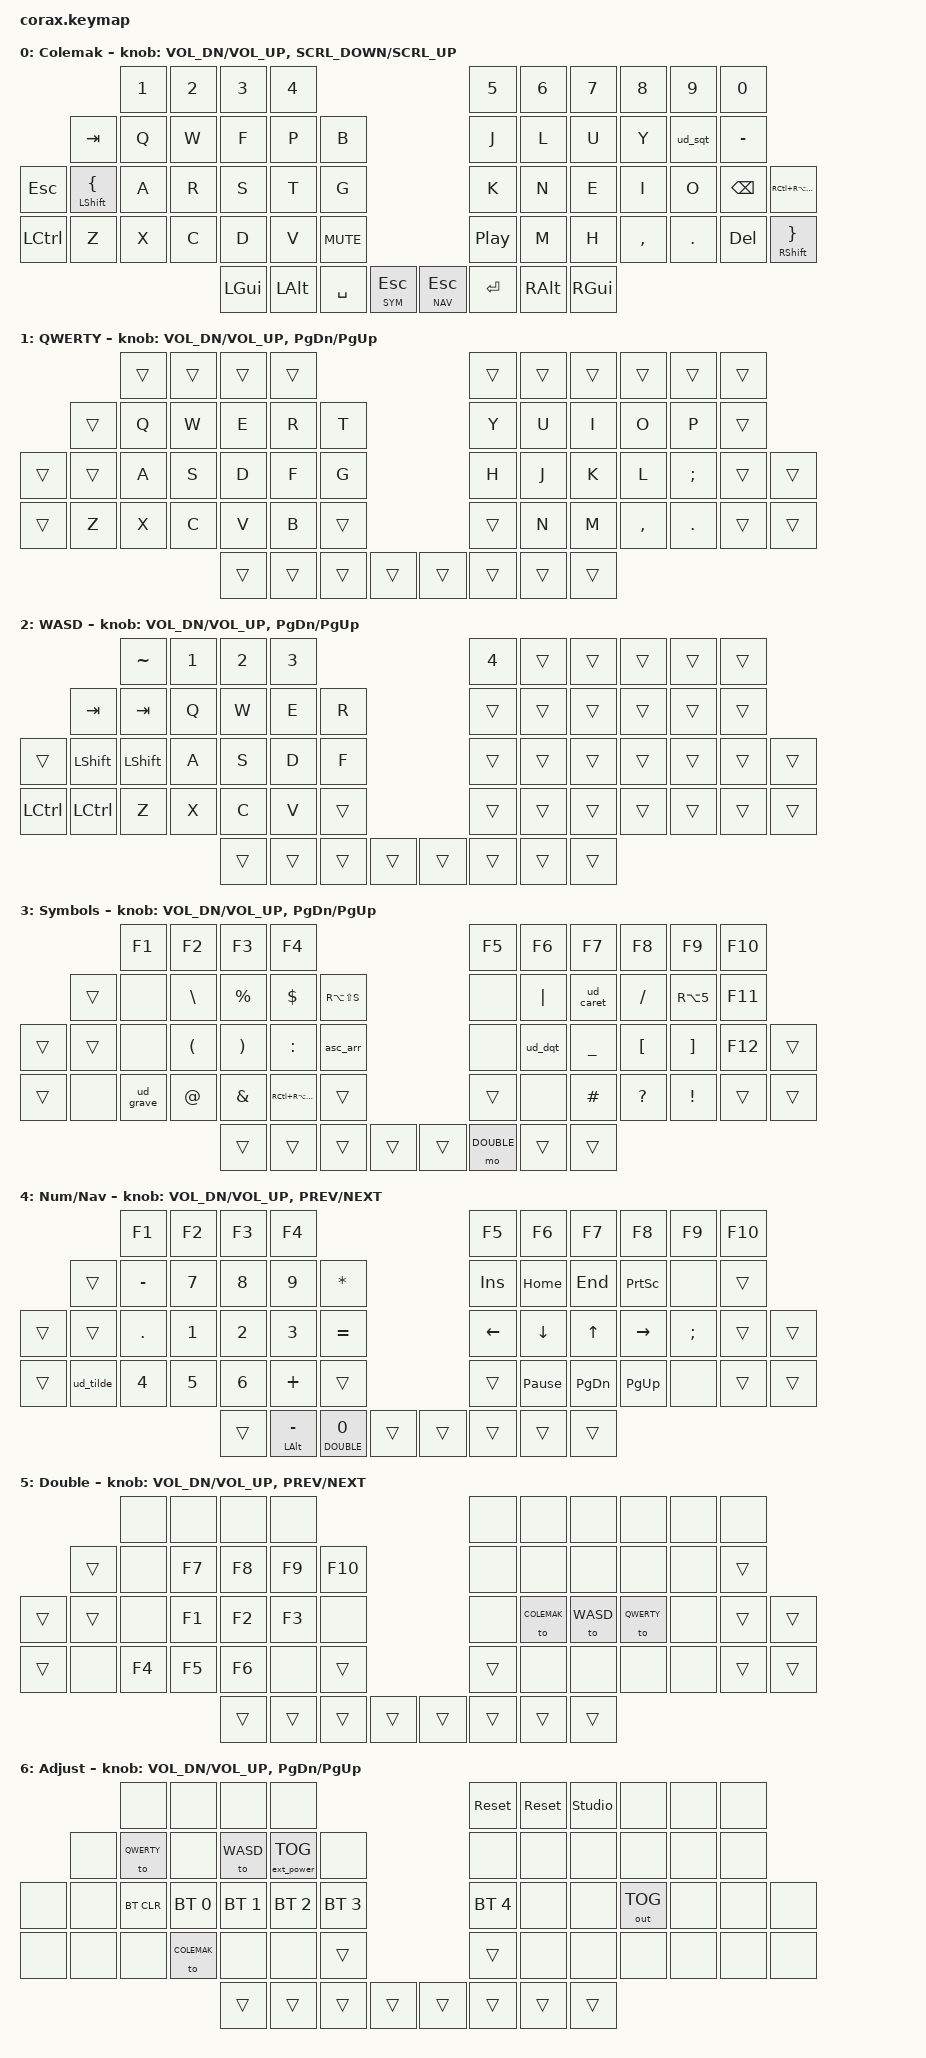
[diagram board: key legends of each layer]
#include <behaviors.dtsi>
#include <dt-bindings/zmk/bt.h>
#include <dt-bindings/zmk/keys.h>
#include <dt-bindings/zmk/outputs.h>
#include <dt-bindings/zmk/ext_power.h>

#define ZMK_POINTING_DEFAULT_SCRL_VAL 20
#include <dt-bindings/zmk/pointing.h>

#define COLEMAK 0
#define QWERTY 1
#define WASD 2
#define SYM 3
#define NAV 4
#define DOUBLE 5
#define ADJUST 6

// additional caps word keys
&caps_word {
    continue-list = <UNDERSCORE MINUS LS(MINUS) UP DOWN LEFT RIGHT BSPC DEL>;
};

&msc {
    acceleration-exponent = <0>;
    time-to-max-speed-ms = <0>;
    delay-ms = <0>;
};

/ {

    behaviors {
        lthp: layer_tap_hold_preferred {
            compatible = "zmk,behavior-hold-tap";
            #binding-cells = <2>;
            flavor = "hold-preferred";
            tapping-term-ms = <200>;
            bindings = <&mo>, <&kp>;
        };

        mthp: mod_tap_hold_preferred {
            compatible = "zmk,behavior-hold-tap";
            #binding-cells = <2>;
            flavor = "hold-preferred";
            tapping-term-ms = <200>;
            bindings = <&kp>, <&kp>;
        };

        inc_dec_msc: sensor_rotation_scroll {
            compatible = "zmk,behavior-sensor-rotate-var";
            #sensor-binding-cells = <2>;
            bindings = <&msc>, <&msc>;
            tap-ms = <200>;
        };
    };

    macros {
        // undead `
        ud_grave: ud_grave {
            compatible = "zmk,behavior-macro";
            #binding-cells = <0>;
            wait-ms = <10>;
            tap-ms = <10>;
            bindings = <&kp GRAVE &kp SPACE>;
        };

        // undead ~
        ud_tilde: ud_tilde {
            compatible = "zmk,behavior-macro";
            #binding-cells = <0>;
            wait-ms = <10>;
            tap-ms = <10>;
            bindings = <&kp TILDE &kp SPACE>;
        };

        // undead ^
        ud_caret: ud_caret {
            compatible = "zmk,behavior-macro";
            #binding-cells = <0>;
            wait-ms = <10>;
            tap-ms = <10>;
            bindings = <&kp CARET &kp SPACE>;
        };

        // undead '
        ud_sqt: ud_sqt {
            compatible = "zmk,behavior-macro";
            #binding-cells = <0>;
            wait-ms = <10>;
            tap-ms = <10>;
            bindings = <&kp SQT &kp SPACE>;
        };

        // undead "
        ud_dqt: ud_dqt {
            compatible = "zmk,behavior-macro";
            #binding-cells = <0>;
            wait-ms = <10>;
            tap-ms = <10>;
            bindings = <&kp LS(SQT) &kp SPACE>;
        };

        // ascii arrow ->
        asc_arr: asc_arr {
            compatible = "zmk,behavior-macro";
            #binding-cells = <0>;
            wait-ms = <10>;
            tap-ms = <10>;
            bindings = <&kp MINUS &kp LS(DOT)>;
        };

    };

    combos {
        compatible = "zmk,combos";

        gm_capsword {
            bindings = <&caps_word>;
            // caps on G+M
            key-positions = <28 29>;
        };

        sticky_adjust {
            bindings = <&sl ADJUST>;
            // sticky adjust layer on LALT+RALT
            key-positions = <51 56>;
        };
    };

    keymap {
        compatible = "zmk,keymap";

        colemak_layer {
            display-name = "Colemak";
            bindings = <
                         &kp N1  &kp N2  &kp N3    &kp N4                                             &kp N5       &kp N6    &kp N7     &kp N8   &kp N9   &kp N0
         &kp TAB         &kp Q   &kp W   &kp F     &kp P     &kp B                                    &kp J        &kp L     &kp U      &kp Y    &ud_sqt  &kp MINUS
&kp ESC  &mt LSHFT LBRC  &kp A   &kp R   &kp S     &kp T     &kp G                                    &kp K        &kp N     &kp E      &kp I    &kp O    &kp BSPC         &kp RC(RA(F13))
         &kp LCTRL       &kp Z   &kp X   &kp C     &kp D     &kp V        &kp C_MUTE      &kp C_PP    &kp M        &kp H     &kp COMMA  &kp DOT  &kp DEL  &mt RSHFT RBRC
                                         &kp LGUI  &kp LALT  &kp SPACE    &lthp SYM ESC   &lt NAV ESC &kp ENTER   &kp RALT  &kp RGUI
            >;

            sensor-bindings = <&inc_dec_kp C_VOL_DN C_VOL_UP &inc_dec_msc SCRL_DOWN SCRL_UP>;
        };

        qwerty_layer {
            display-name = "QWERTY";
            bindings = <
                &trans &trans  &trans  &trans  &trans                  &trans  &trans  &trans     &trans   &trans
        &trans  &kp Q  &kp W   &kp E   &kp R   &kp T                   &kp Y   &kp U   &kp I      &kp O    &kp P     &trans
&trans  &trans  &kp A  &kp S   &kp D   &kp F   &kp G                   &kp H   &kp J   &kp K      &kp L    &kp SEMI  &trans  &trans
        &trans  &kp Z  &kp X   &kp C   &kp V   &kp B   &trans  &trans  &kp N   &kp M   &kp COMMA  &kp DOT  &trans    &trans
                               &trans  &trans  &trans  &trans  &trans  &trans  &trans  &trans
            >;

            sensor-bindings = <&inc_dec_kp C_VOL_DN C_VOL_UP &inc_dec_kp PG_DN PG_UP>;
        };

        gaming_layer {
            display-name = "WASD";
            bindings = <
                   &kp TILDE  &kp N1  &kp N2  &kp N3  &kp N4                  &trans  &trans  &trans  &trans  &trans
        &kp TAB    &kp TAB    &kp Q   &kp W   &kp E   &kp R                   &trans  &trans  &trans  &trans  &trans  &trans
&trans  &kp LSHIFT &kp LSHIFT &kp A   &kp S   &kp D   &kp F                   &trans  &trans  &trans  &trans  &trans  &trans  &trans
        &kp LCTRL  &kp LCTRL  &kp Z   &kp X   &kp C   &kp V   &trans  &trans  &trans  &trans  &trans  &trans  &trans  &trans
                                    &trans  &trans  &trans  &trans  &trans  &trans  &trans  &trans
            >;

            sensor-bindings = <&inc_dec_kp C_VOL_DN C_VOL_UP &inc_dec_kp PG_DN PG_UP>;
        };

        // left mod
        sym_layer {
            display-name = "Symbols";
            bindings = <
                &kp F1  &kp F2     &kp F3     &kp F4     &kp F5                           &kp F6      &kp F7    &kp F8     &kp F9     &kp F10
        &trans  &none   &kp BSLH   &kp PRCNT  &kp DLLR   &kp RA(LS(S))                    &none       &kp PIPE  &ud_caret  &kp SLASH  &kp RA(N5)  &kp F11
&trans  &trans  &none   &kp LPAR   &kp RPAR   &kp COLON  &asc_arr                         &none       &ud_dqt   &kp UNDER  &kp LBKT   &kp RBKT    &kp F12  &trans
        &trans  &none   &ud_grave  &kp AT     &kp AMPS   &kp RC(RA(F14))  &trans  &trans  &none       &kp HASH  &kp QMARK  &kp EXCL   &trans      &trans
                                   &trans     &trans     &trans           &trans  &trans  &mo DOUBLE  &trans    &trans
            >;

            sensor-bindings = <&inc_dec_kp C_VOL_DN C_VOL_UP &inc_dec_kp PG_DN PG_UP>;
        };

        // right mod
        nav_layer {
            display-name = "Num/Nav";
            bindings = <
                &kp F1     &kp F2  &kp F3  &kp F4         &kp F5                         &kp F6           &kp F7     &kp F8     &kp F9     &kp F10
        &trans  &kp MINUS  &kp N7  &kp N8  &kp N9         &kp STAR                       &kp INS          &kp HOME   &kp END    &kp PSCRN  &none     &trans
&trans  &trans  &kp DOT    &kp N1  &kp N2  &kp N3         &kp EQUAL                      &kp LEFT         &kp DOWN   &kp UP     &kp RIGHT  &kp SEMI  &trans  &trans
        &trans  &ud_tilde  &kp N4  &kp N5  &kp N6         &kp PLUS       &trans  &trans  &kp PAUSE_BREAK  &kp PG_DN  &kp PG_UP  &none      &trans    &trans
                                   &trans  &mt LALT MINUS &lt DOUBLE N0  &trans  &trans  &trans           &trans     &trans
            >;

            sensor-bindings = <&inc_dec_kp C_VOL_DN C_VOL_UP &inc_dec_kp C_PREV C_NEXT>;
        };

        // double mod
        double_layer {
            display-name = "Double";
            bindings = <
                &none  &none  &none   &none   &none                   &none   &none         &none     &none       &none
        &trans  &none  &kp F7 &kp F8  &kp F9  &kp F10                 &none   &none         &none     &none       &none  &trans
&trans  &trans  &none  &kp F1 &kp F2  &kp F3  &none                   &none   &to COLEMAK   &to WASD  &to QWERTY  &none  &trans  &trans
        &trans  &none  &kp F4 &kp F5  &kp F6  &none   &trans  &trans  &none   &none         &none     &none       &trans &trans
                              &trans  &trans  &trans  &trans  &trans  &trans  &trans        &trans
            >;

            sensor-bindings = <&inc_dec_kp C_VOL_DN C_VOL_UP &inc_dec_kp C_PREV C_NEXT>;
        };

        adjust_layer {
            display-name = "Adjust";
            bindings = <
              &none       &none         &none         &none              &sys_reset                    &sys_reset   &studio_unlock  &none       &none         &none
       &none  &to QWERTY  &none         &to WASD      &ext_power EP_TOG  &none                         &none        &none       &none       &none         &none  &none
&none  &none  &bt BT_CLR  &bt BT_SEL 0  &bt BT_SEL 1  &bt BT_SEL 2       &bt BT_SEL 3                  &bt BT_SEL 4 &none       &none       &out OUT_TOG  &none  &none  &none
       &none  &none       &none         &to COLEMAK   &none              &none         &trans  &trans  &none        &none       &none       &none         &none  &none
                                        &trans        &trans             &trans        &trans  &trans  &trans       &trans      &trans
            >;

            sensor-bindings = <&inc_dec_kp C_VOL_DN C_VOL_UP &inc_dec_kp PG_DN PG_UP>;
        };

        // Reserved for runtime configuration in ZMK Studio.
        studio_layer {
            status = "reserved";
        };
    };
};
